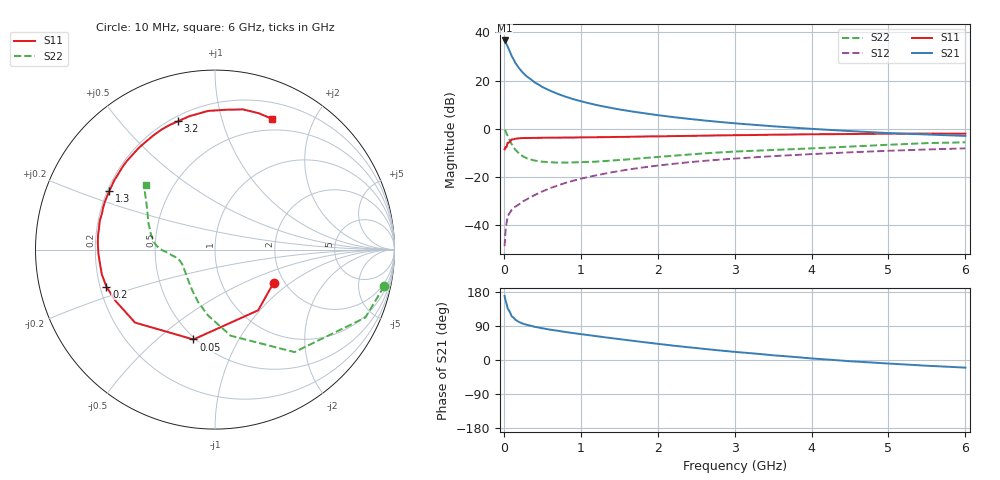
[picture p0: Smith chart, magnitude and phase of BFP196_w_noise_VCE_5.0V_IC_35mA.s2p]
! Infineon Technologies  Discrete & RF Semiconductors
! BFP196
! VCE =  5.0 V,  IC =  35 mA
! Common Emitter S-Parameters:  Jan 2017
# GHz  S  MA  R  50
!  f  S11  S21  S12  S22
! GHz  MAG  ANG  MAG  ANG  MAG  ANG  MAG  ANG
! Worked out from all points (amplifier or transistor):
!   77 points, 10 MHz to 6 GHz, reference 50 ohm
!   highest |S21| = 36.7 dB at 10 MHz (marker M1)
!   |S21| within 3 dB of that: start of sweep to 56.13 MHz
!   unconditionally stable (mu >= 1): 632.8 MHz to 2.434 GHz
!   at 130 MHz: K = 0.53, MSG = 30.7 dB, |S12| = -32.8 dB
!   at 2.2 GHz: K = 1.01, MAG = 9.1 dB, |S12| = -14.5 dB
!   at 6 GHz: K = 0.94, MSG = 2.6 dB, |S12| = -8.1 dB
!   lowest NFmin = 1.28 dB at 450 MHz
!   S11 on the Smith chart (normalised r, x): 10 MHz: 1.76, -0.76; 50 MHz: 0.49, -0.67; 200 MHz: 0.23, -0.16; 1.3 GHz: 0.21, +0.25; 3.2 GHz: 0.23, +0.73; 6 GHz: 0.37, +1.46
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0.01  0.3754 -29.4  68.02 169.0  0.0037 81.8  0.9638 -12.3
0.02  0.415 -54.6  65.39 159.1  0.007 73.5  0.9194 -24.3
0.05  0.5149 -103.5  50.58 135.7  0.0154 59.2  0.7226 -52.2
0.1  0.6032 -137.6  32.75 115.8  0.0207 51.5  0.4881 -79.6
0.15  0.6244 -153.0  23.26 106.2  0.0245 49.7  0.3688 -96.1
0.2  0.6392 -161.2  17.9 100.1  0.0274 53.2  0.3067 -107.8
0.25  0.6453 -167.5  14.48 95.7  0.0316 54.4  0.269 -116.6
0.3  0.6454 -171.7  12.15 92.7  0.0347 56.6  0.2451 -123.9
0.4  0.65 -178.1  9.218 87.6  0.0423 60.0  0.2205 -134.4
0.5  0.6538 177.0  7.391 83.7  0.0503 61.2  0.2086 -142.0
0.6  0.6567 172.9  6.192 80.2  0.059 62.1  0.2034 -148.1
0.7  0.6573 169.4  5.314 77.2  0.0668 63.6  0.1995 -152.4
0.9  0.6608 162.7  4.14 71.1  0.0839 62.9  0.2016 -158.5
1.1  0.669 156.6  3.415 65.7  0.1009 62.3  0.2066 -163.1
1.3  0.6734 150.9  2.904 60.3  0.117 60.5  0.2144 -166.6
1.7  0.6879 139.8  2.251 50.1  0.1501 56.3  0.2395 -172.0
2.1  0.7028 129.4  1.839 40.4  0.1807 51.3  0.2693 -176.6
3.1  0.7412 107.9  1.267 19.8  0.2477 38.3  0.3433 172.5
3.2  0.744 106.1  1.232 18.1  0.2536 37.1  0.3484 171.1
4.1  0.7742 91.3  0.98 2.7  0.3048 26.5  0.4006 157.7
5.1  0.796 77.4  0.807 -10.5  0.3555 14.9  0.4757 144.0
6  0.795 66.4  0.714 -20.2  0.3943 4.9  0.526 136.6
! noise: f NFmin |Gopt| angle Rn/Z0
0.45  1.28  0.35  173  0.05
0.9  1.44  0.45  -169  0.07
1.9  2.27  0.68  -134  0.27
2.4  2.68  0.71  -121  0.61
